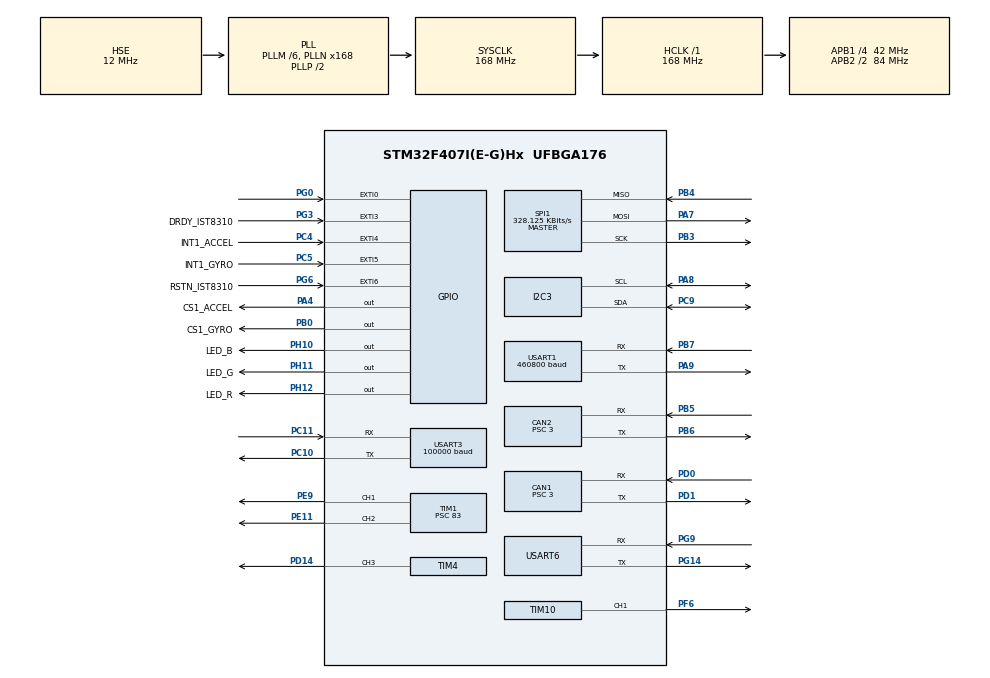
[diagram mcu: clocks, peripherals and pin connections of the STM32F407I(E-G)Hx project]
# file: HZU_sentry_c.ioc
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CAN1.BS1=CAN_BS1_10TQ
CAN1.BS2=CAN_BS2_3TQ
CAN1.CalculateBaudRate=1000000
CAN1.CalculateTimeBit=1000
CAN1.CalculateTimeQuantum=71.42857142857143
CAN1.Prescaler=3
CAN2.BS1=CAN_BS1_10TQ
CAN2.BS2=CAN_BS2_3TQ
CAN2.CalculateBaudRate=1000000
CAN2.CalculateTimeBit=1000
CAN2.CalculateTimeQuantum=71.42857142857143
CAN2.Prescaler=3
Dma.Request0=USART3_RX
Dma.Request1=USART1_RX
Dma.Request2=USART1_TX
Dma.Request3=SPI1_RX
Dma.Request4=SPI1_TX
Dma.Request5=USART6_RX
Dma.SPI1_RX.3.Direction=DMA_PERIPH_TO_MEMORY
Dma.SPI1_RX.3.FIFOMode=DMA_FIFOMODE_DISABLE
Dma.SPI1_RX.3.Instance=DMA2_Stream2
Dma.SPI1_RX.3.MemDataAlignment=DMA_MDATAALIGN_BYTE
Dma.SPI1_RX.3.MemInc=DMA_MINC_ENABLE
Dma.SPI1_RX.3.Mode=DMA_NORMAL
Dma.SPI1_RX.3.PeriphDataAlignment=DMA_PDATAALIGN_BYTE
Dma.SPI1_RX.3.PeriphInc=DMA_PINC_DISABLE
Dma.SPI1_RX.3.Priority=DMA_PRIORITY_VERY_HIGH
Dma.SPI1_TX.4.Direction=DMA_MEMORY_TO_PERIPH
Dma.SPI1_TX.4.FIFOMode=DMA_FIFOMODE_DISABLE
Dma.SPI1_TX.4.Instance=DMA2_Stream3
Dma.SPI1_TX.4.MemDataAlignment=DMA_MDATAALIGN_BYTE
Dma.SPI1_TX.4.MemInc=DMA_MINC_ENABLE
Dma.SPI1_TX.4.Mode=DMA_NORMAL
Dma.SPI1_TX.4.PeriphDataAlignment=DMA_PDATAALIGN_BYTE
Dma.SPI1_TX.4.PeriphInc=DMA_PINC_DISABLE
Dma.SPI1_TX.4.Priority=DMA_PRIORITY_HIGH
Dma.USART1_RX.1.Direction=DMA_PERIPH_TO_MEMORY
Dma.USART1_RX.1.FIFOMode=DMA_FIFOMODE_DISABLE
Dma.USART1_RX.1.Instance=DMA2_Stream5
Dma.USART1_RX.1.MemDataAlignment=DMA_MDATAALIGN_BYTE
Dma.USART1_RX.1.MemInc=DMA_MINC_ENABLE
Dma.USART1_RX.1.Mode=DMA_NORMAL
Dma.USART1_RX.1.PeriphDataAlignment=DMA_PDATAALIGN_BYTE
Dma.USART1_RX.1.PeriphInc=DMA_PINC_DISABLE
Dma.USART1_RX.1.Priority=DMA_PRIORITY_HIGH
Dma.USART1_TX.2.Direction=DMA_MEMORY_TO_PERIPH
Dma.USART1_TX.2.FIFOMode=DMA_FIFOMODE_DISABLE
Dma.USART1_TX.2.Instance=DMA2_Stream7
Dma.USART1_TX.2.MemDataAlignment=DMA_MDATAALIGN_BYTE
Dma.USART1_TX.2.MemInc=DMA_MINC_ENABLE
Dma.USART1_TX.2.Mode=DMA_NORMAL
Dma.USART1_TX.2.PeriphDataAlignment=DMA_PDATAALIGN_BYTE
Dma.USART1_TX.2.PeriphInc=DMA_PINC_DISABLE
Dma.USART1_TX.2.Priority=DMA_PRIORITY_MEDIUM
Dma.USART3_RX.0.Direction=DMA_PERIPH_TO_MEMORY
Dma.USART3_RX.0.FIFOMode=DMA_FIFOMODE_DISABLE
Dma.USART3_RX.0.Instance=DMA1_Stream1
Dma.USART3_RX.0.MemDataAlignment=DMA_MDATAALIGN_BYTE
Dma.USART3_RX.0.MemInc=DMA_MINC_ENABLE
Dma.USART3_RX.0.Mode=DMA_CIRCULAR
Dma.USART3_RX.0.PeriphDataAlignment=DMA_PDATAALIGN_BYTE
Dma.USART3_RX.0.PeriphInc=DMA_PINC_DISABLE
Dma.USART3_RX.0.Priority=DMA_PRIORITY_HIGH
Dma.USART6_RX.5.Direction=DMA_PERIPH_TO_MEMORY
Dma.USART6_RX.5.FIFOMode=DMA_FIFOMODE_DISABLE
Dma.USART6_RX.5.Instance=DMA2_Stream1
Dma.USART6_RX.5.MemDataAlignment=DMA_MDATAALIGN_BYTE
Dma.USART6_RX.5.MemInc=DMA_MINC_ENABLE
Dma.USART6_RX.5.Mode=DMA_NORMAL
Dma.USART6_RX.5.PeriphDataAlignment=DMA_PDATAALIGN_BYTE
Dma.USART6_RX.5.PeriphInc=DMA_PINC_DISABLE
Dma.USART6_RX.5.Priority=DMA_PRIORITY_HIGH
FREERTOS.INCLUDE_pcTaskGetTaskName=1
FREERTOS.INCLUDE_uxTaskGetStackHighWaterMark2=1
FREERTOS.INCLUDE_vTaskCleanUpResources=1
FREERTOS.INCLUDE_xEventGroupSetBitFromISR=1
FREERTOS.INCLUDE_xSemaphoreGetMutexHolder=1
FREERTOS.INCLUDE_xTaskAbortDelay=1
FREERTOS.INCLUDE_xTaskGetHandle=1
FREERTOS.Tasks01=defaultTask,24,128,StartDefaultTask,Default,NULL,Dynamic,NULL,NULL
FREERTOS.configCHECK_FOR_STACK_OVERFLOW=2
FREERTOS.configENABLE_BACKWARD_COMPATIBILITY=0
FREERTOS.configENABLE_FPU=1
FREERTOS.configGENERATE_RUN_TIME_STATS=1
FREERTOS.configRECORD_STACK_HIGH_ADDRESS=1
FREERTOS.configTOTAL_HEAP_SIZE=0x6000
FREERTOS.configUSE_STATS_FORMATTING_FUNCTIONS=1
Mcu.Family=STM32F4
Mcu.Name=STM32F407I(E-G)Hx
Mcu.Package=UFBGA176
NVIC.CAN1_RX0_IRQn=true\:5\:0\:false\:false\:true\:true\:true\:true\:true
NVIC.CAN2_RX0_IRQn=true\:5\:0\:false\:false\:true\:true\:true\:true\:true
NVIC.CAN2_TX_IRQn=true\:5\:0\:false\:false\:true\:true\:true\:true\:true
NVIC.DMA1_Stream1_IRQn=true\:5\:0\:false\:false\:true\:true\:false\:true\:true
NVIC.DMA2_Stream1_IRQn=true\:5\:0\:false\:false\:true\:true\:false\:true\:true
NVIC.DMA2_Stream2_IRQn=true\:5\:0\:true\:false\:true\:false\:false\:true\:true
NVIC.DMA2_Stream3_IRQn=true\:5\:0\:false\:false\:true\:true\:false\:true\:true
NVIC.DMA2_Stream5_IRQn=true\:5\:0\:true\:false\:true\:false\:false\:true\:true
NVIC.DMA2_Stream7_IRQn=true\:5\:0\:false\:false\:true\:true\:false\:true\:true
NVIC.EXTI0_IRQn=true\:5\:0\:false\:false\:true\:true\:true\:true\:true
NVIC.EXTI3_IRQn=true\:5\:0\:false\:false\:true\:true\:true\:true\:true
NVIC.EXTI4_IRQn=true\:5\:0\:false\:false\:true\:true\:true\:true\:true
NVIC.EXTI9_5_IRQn=true\:5\:0\:false\:false\:true\:true\:true\:true\:true
NVIC.PriorityGroup=NVIC_PRIORITYGROUP_4
NVIC.TIM2_IRQn=true\:15\:0\:false\:false\:true\:false\:false\:true\:true
NVIC.TIM3_IRQn=true\:5\:0\:false\:false\:true\:true\:true\:true\:true
NVIC.TimeBase=TIM2_IRQn
NVIC.TimeBaseIP=TIM2
NVIC.USART1_IRQn=true\:5\:0\:false\:false\:true\:true\:true\:true\:true
NVIC.USART6_IRQn=true\:5\:0\:false\:false\:true\:true\:true\:true\:true
PA13.Mode=Serial_Wire
PA13.Signal=SYS_JTMS-SWDIO
PA14.Mode=Serial_Wire
PA14.Signal=SYS_JTCK-SWCLK
PA4.GPIO_Label=CS1_ACCEL
PA4.GPIO_PuPd=GPIO_PULLUP
PA4.PinState=GPIO_PIN_SET
PA4.Signal=GPIO_Output
PA7.Mode=Full_Duplex_Master
PA7.Signal=SPI1_MOSI
PA8.Mode=I2C
PA8.Signal=I2C3_SCL
PA9.Mode=Asynchronous
PA9.Signal=USART1_TX
PB0.GPIO_Label=CS1_GYRO
PB0.GPIO_PuPd=GPIO_PULLUP
PB0.GPIO_Speed=GPIO_SPEED_FREQ_HIGH
PB0.Signal=GPIO_Output
PB3.Mode=Full_Duplex_Master
PB3.Signal=SPI1_SCK
PB4.Mode=Full_Duplex_Master
PB4.Signal=SPI1_MISO
PB5.Mode=CAN_Activate
PB5.Signal=CAN2_RX
PB6.Mode=CAN_Activate
PB6.Signal=CAN2_TX
PB7.Mode=Asynchronous
PB7.Signal=USART1_RX
PC10.Mode=Asynchronous
PC10.Signal=USART3_TX
PC11.Mode=Asynchronous
PC11.Signal=USART3_RX
PC4.GPIO_Label=INT1_ACCEL
PC4.GPIO_PuPd=GPIO_PULLUP
PC4.Signal=GPXTI4
PC5.GPIO_Label=INT1_GYRO
PC5.GPIO_PuPd=GPIO_PULLUP
PC5.Signal=GPXTI5
PC9.Mode=I2C
PC9.Signal=I2C3_SDA
PD0.Mode=CAN_Activate
PD0.Signal=CAN1_RX
PD1.Mode=CAN_Activate
PD1.Signal=CAN1_TX
PD14.Signal=S_TIM4_CH3
PE11.Signal=S_TIM1_CH2
PE9.Signal=S_TIM1_CH1
PF6.Signal=S_TIM10_CH1
PG0.GPIO_PuPd=GPIO_PULLUP
PG0.Signal=GPXTI0
PG14.Mode=Asynchronous
PG14.Signal=USART6_TX
PG3.GPIO_Label=DRDY_IST8310
PG3.GPIO_PuPd=GPIO_PULLUP
PG3.Signal=GPXTI3
PG6.GPIO_Label=RSTN_IST8310
PG6.GPIO_PuPd=GPIO_PULLUP
PG6.Signal=GPXTI6
PG9.Mode=Asynchronous
PG9.Signal=USART6_RX
PH0-OSC_IN.Mode=HSE-External-Oscillator
PH0-OSC_IN.Signal=RCC_OSC_IN
PH1-OSC_OUT.Mode=HSE-External-Oscillator
PH1-OSC_OUT.Signal=RCC_OSC_OUT
PH10.GPIO_Label=LED_B
PH10.GPIO_PuPd=GPIO_PULLUP
PH10.GPIO_Speed=GPIO_SPEED_FREQ_VERY_HIGH
PH10.Signal=GPIO_Output
PH11.GPIO_Label=LED_G
PH11.GPIO_PuPd=GPIO_PULLUP
PH11.GPIO_Speed=GPIO_SPEED_FREQ_VERY_HIGH
PH11.Signal=GPIO_Output
PH12.GPIO_Label=LED_R
PH12.GPIO_PuPd=GPIO_PULLUP
PH12.GPIO_Speed=GPIO_SPEED_FREQ_VERY_HIGH
PH12.Signal=GPIO_Output
ProjectManager.HeapSize=0x200
ProjectManager.StackSize=0x400
ProjectManager.TargetToolchain=MDK-ARM V5.32
RCC.48MHZClocksFreq_Value=84000000
RCC.AHBFreq_Value=168000000
RCC.APB1CLKDivider=RCC_HCLK_DIV4
RCC.APB1Freq_Value=42000000
RCC.APB1TimFreq_Value=84000000
RCC.APB2CLKDivider=RCC_HCLK_DIV2
RCC.APB2Freq_Value=84000000
RCC.APB2TimFreq_Value=168000000
RCC.CortexFreq_Value=168000000
RCC.HCLKFreq_Value=168000000
RCC.HSE_VALUE=12000000
RCC.HSI_VALUE=16000000
RCC.LSE_VALUE=32768
RCC.PLLM=6
RCC.PLLN=168
RCC.PLLSourceVirtual=RCC_PLLSOURCE_HSE
RCC.SYSCLKFreq_VALUE=168000000
RCC.SYSCLKSource=RCC_SYSCLKSOURCE_PLLCLK
RCC.VCOOutputFreq_Value=336000000
SH.S_TIM10_CH1.0=TIM10_CH1,PWM Generation1 CH1
SH.S_TIM1_CH1.0=TIM1_CH1,PWM Generation1 CH1
SH.S_TIM1_CH2.0=TIM1_CH2,PWM Generation2 CH2
SH.S_TIM4_CH3.0=TIM4_CH3,PWM Generation3 CH3
SPI1.BaudRatePrescaler=SPI_BAUDRATEPRESCALER_256
SPI1.CalculateBaudRate=328.125 KBits/s
SPI1.Direction=SPI_DIRECTION_2LINES
SPI1.Mode=SPI_MODE_MASTER
SPI1.VirtualType=VM_MASTER
TIM1.Channel-PWM\ Generation1\ CH1=TIM_CHANNEL_1
TIM1.Channel-PWM\ Generation2\ CH2=TIM_CHANNEL_2
TIM1.Period=19999
TIM1.Prescaler=83
TIM1.Pulse-PWM\ Generation1\ CH1=10000
TIM10.Channel=TIM_CHANNEL_1
TIM10.Period=4999
TIM10.Pulse=2500
TIM3.Period=49
TIM3.Prescaler=83
TIM4.Channel-PWM\ Generation3\ CH3=TIM_CHANNEL_3
TIM4.Period=250
TIM4.Prescaler=83
TIM4.Pulse-PWM\ Generation3\ CH3=125
USART1.BaudRate=460800
USART1.VirtualMode=VM_ASYNC
USART3.BaudRate=100000
USART3.Mode=MODE_RX
USART3.Parity=PARITY_EVEN
USART3.VirtualMode=VM_ASYNC
USART6.VirtualMode=VM_ASYNC
VP_FREERTOS_VS_CMSIS_V2.Mode=CMSIS_V2
VP_SYS_VS_tim2.Mode=TIM2
VP_TIM10_VS_ClockSourceINT.Mode=Enable_Timer
VP_TIM3_VS_ClockSourceINT.Mode=Internal
VP_TIM4_VS_ClockSourceINT.Mode=Internal
board=custom

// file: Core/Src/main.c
/* USER CODE BEGIN Header */
/**
  ******************************************************************************
  * @file           : main.c
  * @brief          : Main program body
  ******************************************************************************
  * @attention
  *
  * Copyright (c) 2023 STMicroelectronics.
  * All rights reserved.
  *
  * This software is licensed under terms that can be found in the LICENSE file
  * in the root directory of this software component.
  * If no LICENSE file comes with this software, it is provided AS-IS.
  *
  ******************************************************************************
  */
/* USER CODE END Header */
#include "main.h"
#include "cmsis_os.h"
#include "can.h"
#include "dma.h"
#include "i2c.h"
#include "spi.h"
#include "tim.h"
#include "usart.h"
#include "gpio.h"

/* USER CODE BEGIN PV */
extern uint8_t abuffer;
float value=0;
uint8 getflag=0;

/* USER CODE END PV */

void SystemClock_Config(void);
void MX_FREERTOS_Init(void);

int main(void)
{

  /* MCU Configuration--------------------------------------------------------*/

  /* Reset of all peripherals, Initializes the Flash interface and the Systick. */
  HAL_Init();

  /* Configure the system clock */
  SystemClock_Config();

  /* USER CODE BEGIN SysInit */
		delay_init(168);
		delay_ms(100);
  /* USER CODE END SysInit */

  /* Initialize all configured peripherals */
  MX_GPIO_Init();
  MX_DMA_Init();
  MX_USART3_UART_Init();
  MX_USART1_UART_Init();
  MX_CAN1_Init();
  MX_CAN2_Init();
  MX_I2C3_Init();
  MX_SPI1_Init();
  MX_TIM1_Init();
  MX_TIM3_Init();
  MX_TIM4_Init();
  MX_TIM10_Init();
  MX_USART6_UART_Init();
  /* USER CODE BEGIN 2 */
	HAL_UART_Receive_IT(&huart6,(uint8_t*)&abuffer,1);
  led_configuration();
  freertos_run_tim3_configuration();
  usart_Receive_DMA();
  CAN_APP_INIT();
  oled_init();
  HAL_TIM_Base_Start(&htim1);
  HAL_TIM_PWM_Start(&htim1,TIM_CHANNEL_1);
  /* USER CODE END 2 */

  /* Init scheduler */
  osKernelInitialize();  /* Call init function for freertos objects (in freertos.c) */
  MX_FREERTOS_Init();

  /* Start scheduler */
  osKernelStart();

  /* We should never get here as control is now taken by the scheduler */
  /* Infinite loop */
  while (1)
  {

  }
}

void SystemClock_Config(void)
{
  RCC_OscInitTypeDef RCC_OscInitStruct = {0};
  RCC_ClkInitTypeDef RCC_ClkInitStruct = {0};

  /** Configure the main internal regulator output voltage
  */
  __HAL_RCC_PWR_CLK_ENABLE();
  __HAL_PWR_VOLTAGESCALING_CONFIG(PWR_REGULATOR_VOLTAGE_SCALE1);

  /** Initializes the RCC Oscillators according to the specified parameters
  * in the RCC_OscInitTypeDef structure.
  */
  RCC_OscInitStruct.OscillatorType = RCC_OSCILLATORTYPE_HSE;
  RCC_OscInitStruct.HSEState = RCC_HSE_ON;
  RCC_OscInitStruct.PLL.PLLState = RCC_PLL_ON;
  RCC_OscInitStruct.PLL.PLLSource = RCC_PLLSOURCE_HSE;
  RCC_OscInitStruct.PLL.PLLM = 6;
  RCC_OscInitStruct.PLL.PLLN = 168;
  RCC_OscInitStruct.PLL.PLLP = RCC_PLLP_DIV2;
  RCC_OscInitStruct.PLL.PLLQ = 4;
  if (HAL_RCC_OscConfig(&RCC_OscInitStruct) != HAL_OK)
  {
    Error_Handler();
  }

  /** Initializes the CPU, AHB and APB buses clocks
  */
  RCC_ClkInitStruct.ClockType = RCC_CLOCKTYPE_HCLK|RCC_CLOCKTYPE_SYSCLK
                              |RCC_CLOCKTYPE_PCLK1|RCC_CLOCKTYPE_PCLK2;
  RCC_ClkInitStruct.SYSCLKSource = RCC_SYSCLKSOURCE_PLLCLK;
  RCC_ClkInitStruct.AHBCLKDivider = RCC_SYSCLK_DIV1;
  RCC_ClkInitStruct.APB1CLKDivider = RCC_HCLK_DIV4;
  RCC_ClkInitStruct.APB2CLKDivider = RCC_HCLK_DIV2;

  if (HAL_RCC_ClockConfig(&RCC_ClkInitStruct, FLASH_LATENCY_5) != HAL_OK)
  {
    Error_Handler();
  }
}

void HAL_TIM_PeriodElapsedCallback(TIM_HandleTypeDef *htim)
{
  if (htim->Instance == TIM2) {
    HAL_IncTick();
  }
  /* USER CODE BEGIN Callback 1 */
		if(htim->Instance == TIM3)
		{
		value=value+1;
		getflag=1;

		}
  /* USER CODE END Callback 1 */
}

void Error_Handler(void)
{
  __disable_irq();
  while (1)
  {
  }
}
